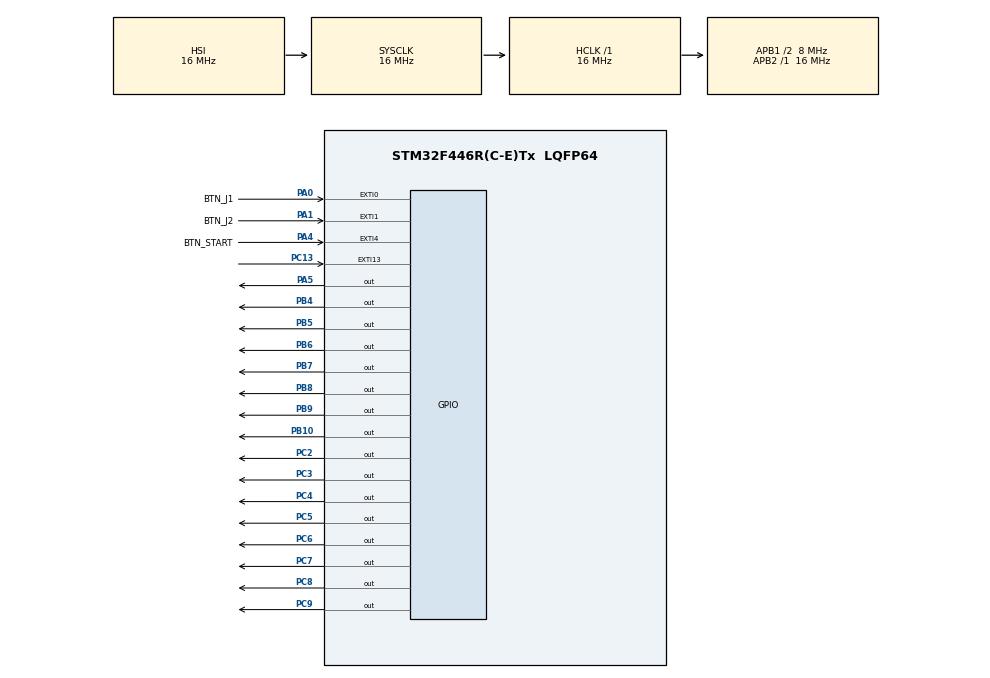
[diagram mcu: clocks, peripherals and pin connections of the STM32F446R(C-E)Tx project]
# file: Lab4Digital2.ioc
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Mcu.Family=STM32F4
Mcu.Name=STM32F446R(C-E)Tx
Mcu.Package=LQFP64
NUCLEO-F446RE.BUTTON=1
NUCLEO-F446RE.LD1=true
NVIC.EXTI0_IRQn=true\:0\:0\:false\:false\:true\:true\:true\:true
NVIC.EXTI15_10_IRQn=true\:0\:0\:false\:false\:true\:false\:true\:true
NVIC.EXTI1_IRQn=true\:0\:0\:false\:false\:true\:true\:true\:true
NVIC.EXTI4_IRQn=true\:0\:0\:false\:false\:true\:true\:true\:true
NVIC.PriorityGroup=NVIC_PRIORITYGROUP_0
PA0-WKUP.GPIO_Label=BTN_J1
PA0-WKUP.GPIO_ModeDefaultEXTI=GPIO_MODE_IT_FALLING
PA0-WKUP.GPIO_PuPd=GPIO_PULLUP
PA0-WKUP.Signal=GPXTI0
PA1.GPIO_Label=BTN_J2
PA1.GPIO_ModeDefaultEXTI=GPIO_MODE_IT_FALLING
PA1.GPIO_PuPd=GPIO_PULLUP
PA1.Signal=GPXTI1
PA13.GPIO_Label=TMS
PA13.Mode=Serial_Wire
PA13.Signal=SYS_JTMS-SWDIO
PA14.GPIO_Label=TCK
PA14.Mode=Serial_Wire
PA14.Signal=SYS_JTCK-SWCLK
PA2.GPIO_Label=USART_TX
PA2.Signal=USART2_TX
PA3.GPIO_Label=USART_RX
PA3.Signal=USART2_RX
PA4.GPIO_Label=BTN_START
PA4.GPIO_ModeDefaultEXTI=GPIO_MODE_IT_FALLING
PA4.GPIO_PuPd=GPIO_PULLUP
PA4.Signal=GPXTI4
PA5.Signal=GPIO_Output
PB10.PinState=GPIO_PIN_SET
PB10.Signal=GPIO_Output
PB3.GPIO_Label=SWO
PB3.Signal=SYS_JTDO-SWO
PB4.PinState=GPIO_PIN_SET
PB4.Signal=GPIO_Output
PB5.PinState=GPIO_PIN_SET
PB5.Signal=GPIO_Output
PB6.PinState=GPIO_PIN_SET
PB6.Signal=GPIO_Output
PB7.PinState=GPIO_PIN_SET
PB7.Signal=GPIO_Output
PB8.PinState=GPIO_PIN_SET
PB8.Signal=GPIO_Output
PB9.PinState=GPIO_PIN_SET
PB9.Signal=GPIO_Output
PC13.Signal=GPXTI13
PC14-OSC32_IN.Signal=RCC_OSC32_IN
PC15-OSC32_OUT.Signal=RCC_OSC32_OUT
PC2.Signal=GPIO_Output
PC3.Signal=GPIO_Output
PC4.Signal=GPIO_Output
PC5.Signal=GPIO_Output
PC6.Signal=GPIO_Output
PC7.Signal=GPIO_Output
PC8.Signal=GPIO_Output
PC9.Signal=GPIO_Output
PH0-OSC_IN.Signal=RCC_OSC_IN
PH1-OSC_OUT.Signal=RCC_OSC_OUT
ProjectManager.HeapSize=0x200
ProjectManager.StackSize=0x400
ProjectManager.TargetToolchain=STM32CubeIDE
RCC.AHBFreq_Value=16000000
RCC.APB1CLKDivider=RCC_HCLK_DIV2
RCC.APB1Freq_Value=8000000
RCC.APB1TimFreq_Value=16000000
RCC.APB2Freq_Value=16000000
RCC.APB2TimFreq_Value=16000000
RCC.CortexFreq_Value=16000000
RCC.FLatency-AdvancedSettings=FLASH_LATENCY_0
RCC.HCLKFreq_Value=16000000
RCC.HSE_VALUE=8000000
RCC.HSI_VALUE=16000000
RCC.LSE_VALUE=32768
RCC.PLLN=336
RCC.PLLP=RCC_PLLP_DIV4
RCC.SYSCLKFreq_VALUE=16000000
RCC.USBFreq_Value=168000000
RCC.VCOOutputFreq_Value=336000000
VP_NUCLEO-F446RE_VS_BSP_COMMON.Mode=COMMON
board=NUCLEO-F446RE

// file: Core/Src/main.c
/* USER CODE BEGIN Header */
/**
  ******************************************************************************
  * @file           : main.c
  * @brief          : Main program body
  ******************************************************************************
  * @attention
  *
  * Copyright (c) 2026 STMicroelectronics.
  * All rights reserved.
  *
  * This software is licensed under terms that can be found in the LICENSE file
  * in the root directory of this software component.
  * If no LICENSE file comes with this software, it is provided AS-IS.
  *
  ******************************************************************************
  */
/* USER CODE END Header */

#include "main.h"

/* USER CODE BEGIN PD */

#define DEBOUNCE_MS 200

#define SEG_A (1U << 4)
#define SEG_B (1U << 5)
#define SEG_C (1U << 6)
#define SEG_D (1U << 7)
#define SEG_E (1U << 8)
#define SEG_F (1U << 9)
#define SEG_G (1U << 10)

#define DISPLAY_MASK (SEG_A | SEG_B | SEG_C | SEG_D | \
                      SEG_E | SEG_F | SEG_G)

/* USER CODE END PD */

/* USER CODE BEGIN PV */

volatile uint8_t contador_J1 = 0;
volatile uint8_t contador_J2 = 0;

volatile uint8_t juego_activo = 0;

/* Variables para la cuenta regresiva */
volatile uint8_t cuenta_activa = 0;
volatile uint8_t numero_cuenta = 5;

volatile uint32_t tiempo_cuenta = 0;

/* Variables para antirrebote */
volatile uint32_t ultimo_J1 = 0;
volatile uint32_t ultimo_J2 = 0;
volatile uint32_t ultimo_START = 0;

/* USER CODE END PV */

void SystemClock_Config(void);
static void MX_GPIO_Init(void);

/* USER CODE BEGIN PFP */

void Mostrar_J1(uint8_t patron);
void Mostrar_J2(uint8_t patron);

void Actualizar_J1(void);
void Actualizar_J2(void);

void Display_Apagado(void);
void Display_Numero(uint8_t numero);

void Ganador_J1(void);
void Ganador_J2(void);

/* USER CODE END PFP */

/* USER CODE BEGIN 0 */

/* ---------------------------------------------------------- */
/* MOSTRAR PATRON EN LOS LEDS DEL JUGADOR 1                   */
/* PC2 - PC5                                                  */
/* ---------------------------------------------------------- */
void Mostrar_J1(uint8_t patron)
{
	uint32_t mascara = (0x0F << 2);
	uint32_t salida = ((patron & 0x0F) << 2);

	uint32_t encender = salida & mascara;
	uint32_t apagar = (~salida) & mascara;

	GPIOC->BSRR = encender | (apagar << 16);
}

/* ---------------------------------------------------------- */
/* MOSTRAR PATRON EN LOS LEDS DEL JUGADOR 2                   */
/* PC6 - PC9                                                  */
/* ---------------------------------------------------------- */
void Mostrar_J2(uint8_t patron)
{
	uint32_t mascara = (0x0F << 6);
	uint32_t salida = ((patron & 0x0F) << 6);

	uint32_t encender = salida & mascara;
	uint32_t apagar = (~salida) & mascara;

	GPIOC->BSRR = encender | (apagar << 16);
}

/* ---------------------------------------------------------- */
/* ACTUALIZAR JUGADOR 1                                       */
/*                                                            */
/* 0 -> 0000                                                  */
/* 1 -> 1000                                                  */
/* 2 -> 0100                                                  */
/* 3 -> 0010                                                  */
/* 4 -> 0001                                                  */
/* 5 -> GANADOR                                               */
/* ---------------------------------------------------------- */
void Actualizar_J1(void)
{
	switch (contador_J1)
	{
		case 0:
			Mostrar_J1(0x00);
			break;

		case 1:
			Mostrar_J1(0x08);
			break;

		case 2:
			Mostrar_J1(0x04);
			break;

		case 3:
			Mostrar_J1(0x02);
			break;

		case 4:
			Mostrar_J1(0x01);
			break;

		case 5:
			Ganador_J1();
			break;

		default:
			break;
	}
}

/* ---------------------------------------------------------- */
/* ACTUALIZAR JUGADOR 2                                       */
/* ---------------------------------------------------------- */
void Actualizar_J2(void)
{
	switch (contador_J2)
	{
		case 0:
			Mostrar_J2(0x00);
			break;

		case 1:
			Mostrar_J2(0x08);
			break;

		case 2:
			Mostrar_J2(0x04);
			break;

		case 3:
			Mostrar_J2(0x02);
			break;

		case 4:
			Mostrar_J2(0x01);
			break;

		case 5:
			Ganador_J2();
			break;

		default:
			break;
	}
}

/* ---------------------------------------------------------- */
/* APAGAR DISPLAY                                             */
/*                                                            */
/* ANODO COMUN                                                */
/* HIGH = APAGADO                                             */
/* LOW  = ENCENDIDO                                           */
/* ---------------------------------------------------------- */
void Display_Apagado(void)
{
	GPIOB->BSRR = DISPLAY_MASK;
}

/* ---------------------------------------------------------- */
/* MOSTRAR NUMERO EN DISPLAY                                  */
/*                                                            */
/* Display de ANODO COMUN                                     */
/* Primero apagamos todos los segmentos.                      */
/* Luego ponemos en LOW solamente los segmentos necesarios.   */
/* ---------------------------------------------------------- */
void Display_Numero(uint8_t numero)
{
	uint32_t segmentos = 0;

	switch (numero)
	{
		case 0:
			segmentos = SEG_A | SEG_B | SEG_C |
					   SEG_D | SEG_E | SEG_F;
			break;

		case 1:
			segmentos = SEG_B | SEG_C;
			break;

		case 2:
			segmentos = SEG_A | SEG_B | SEG_D |
					   SEG_E | SEG_G;
			break;

		case 3:
			segmentos = SEG_A | SEG_B | SEG_C |
					   SEG_D | SEG_G;
			break;

		case 4:
			segmentos = SEG_B | SEG_C | SEG_F |
					   SEG_G;
			break;

		case 5:
			segmentos = SEG_A | SEG_C | SEG_D |
					   SEG_F | SEG_G;
			break;

		default:
			Display_Apagado();
			return;
	}

	/*
	 * Primero todos HIGH = apagados
	 */
	GPIOB->BSRR = DISPLAY_MASK;

	/*
	 * Los bits 16-31 del BSRR ponen el pin en LOW.
	 * En anodo comun LOW = segmento encendido.
	 */
	GPIOB->BSRR = (segmentos << 16);
}

/* ---------------------------------------------------------- */
/* GANADOR JUGADOR 1                                         */
/* ---------------------------------------------------------- */
void Ganador_J1(void)
{
	juego_activo = 0;

	/* J1 = 1111 */
	GPIOC->BSRR =
			(1U << 2) |
			(1U << 3) |
			(1U << 4) |
			(1U << 5);

	/* J2 = 0000 */
	GPIOC->BSRR =
			(1U << (6 + 16)) |
			(1U << (7 + 16)) |
			(1U << (8 + 16)) |
			(1U << (9 + 16));

	/* Mostrar ganador 1 */
	Display_Numero(1);
}

/* ---------------------------------------------------------- */
/* GANADOR JUGADOR 2                                         */
/* ---------------------------------------------------------- */
void Ganador_J2(void)
{
	juego_activo = 0;

	/* J1 = 0000 */
	GPIOC->BSRR =
			(1U << (2 + 16)) |
			(1U << (3 + 16)) |
			(1U << (4 + 16)) |
			(1U << (5 + 16));

	/* J2 = 1111 */
	GPIOC->BSRR =
			(1U << 6) |
			(1U << 7) |
			(1U << 8) |
			(1U << 9);

	/* Mostrar ganador 2 */
	Display_Numero(2);
}

/* USER CODE END 0 */

int main(void)
{

  /* MCU Configuration--------------------------------------------------------*/

  /* Reset of all peripherals, Initializes the Flash interface and the Systick. */
  HAL_Init();

  /* Configure the system clock */
  SystemClock_Config();

  /* Initialize all configured peripherals */
  MX_GPIO_Init();

  /* USER CODE BEGIN 2 */

  Mostrar_J1(0x00);
  Mostrar_J2(0x00);

  Display_Apagado();

  juego_activo = 0;
  cuenta_activa = 0;

  /*
   * Permitir que la primera pulsacion sea reconocida
   * inmediatamente.
   */
  ultimo_J1 = HAL_GetTick() - DEBOUNCE_MS;
  ultimo_J2 = HAL_GetTick() - DEBOUNCE_MS;
  ultimo_START = HAL_GetTick() - DEBOUNCE_MS;

  /* USER CODE END 2 */

  /* Initialize leds */
  BSP_LED_Init(LED2);

  /* Initialize USER push-button, will be used to trigger an interrupt each time it's pressed.*/
  BSP_PB_Init(BUTTON_USER, BUTTON_MODE_EXTI);

  /* Infinite loop */
  while (1)
  {

    /* USER CODE BEGIN 3 */

	/*
	 * ----------------------------------------------------------
	 * CUENTA REGRESIVA
	 * ----------------------------------------------------------
	 *
	 * Esta rutina NO bloquea el procesador.
	 *
	 * Cada vez que pasan 1000 ms:
	 *
	 * 5 -> 4 -> 3 -> 2 -> 1 -> 0
	 *
	 */
	if (cuenta_activa)
	{
		uint32_t ahora = HAL_GetTick();

		if ((ahora - tiempo_cuenta) >= 1000)
		{
			tiempo_cuenta = ahora;

			if (numero_cuenta > 0)
			{
				numero_cuenta--;

				Display_Numero(numero_cuenta);
			}

			else
			{
				/*
				 * El 0 ya estuvo mostrado durante 1 segundo.
				 * Termina la cuenta regresiva.
				 */
				cuenta_activa = 0;

				Display_Apagado();

				/*
				 * Ahora SI empieza la carrera.
				 */
				juego_activo = 1;
			}
		}
	}

  }
  /* USER CODE END 3 */
}

void SystemClock_Config(void)
{
  RCC_OscInitTypeDef RCC_OscInitStruct = {0};
  RCC_ClkInitTypeDef RCC_ClkInitStruct = {0};

  /** Configure the main internal regulator output voltage
  */
  __HAL_RCC_PWR_CLK_ENABLE();
  __HAL_PWR_VOLTAGESCALING_CONFIG(PWR_REGULATOR_VOLTAGE_SCALE3);

  /** Initializes the RCC Oscillators according to the specified parameters
  * in the RCC_OscInitTypeDef structure.
  */
  RCC_OscInitStruct.OscillatorType = RCC_OSCILLATORTYPE_HSI;
  RCC_OscInitStruct.HSIState = RCC_HSI_ON;
  RCC_OscInitStruct.HSICalibrationValue = RCC_HSICALIBRATION_DEFAULT;
  RCC_OscInitStruct.PLL.PLLState = RCC_PLL_NONE;

  if (HAL_RCC_OscConfig(&RCC_OscInitStruct) != HAL_OK)
  {
    Error_Handler();
  }

  /** Initializes the CPU, AHB and APB buses clocks
  */
  RCC_ClkInitStruct.ClockType = RCC_CLOCKTYPE_HCLK|RCC_CLOCKTYPE_SYSCLK
                              |RCC_CLOCKTYPE_PCLK1|RCC_CLOCKTYPE_PCLK2;

  RCC_ClkInitStruct.SYSCLKSource = RCC_SYSCLKSOURCE_HSI;
  RCC_ClkInitStruct.AHBCLKDivider = RCC_SYSCLK_DIV1;
  RCC_ClkInitStruct.APB1CLKDivider = RCC_HCLK_DIV2;
  RCC_ClkInitStruct.APB2CLKDivider = RCC_HCLK_DIV1;

  if (HAL_RCC_ClockConfig(&RCC_ClkInitStruct, FLASH_LATENCY_0) != HAL_OK)
  {
    Error_Handler();
  }
}

static void MX_GPIO_Init(void)
{
  GPIO_InitTypeDef GPIO_InitStruct = {0};

  /* GPIO Ports Clock Enable */
  __HAL_RCC_GPIOC_CLK_ENABLE();
  __HAL_RCC_GPIOH_CLK_ENABLE();
  __HAL_RCC_GPIOA_CLK_ENABLE();
  __HAL_RCC_GPIOB_CLK_ENABLE();

  /*Configure GPIO pin Output Level */
  HAL_GPIO_WritePin(GPIOC, GPIO_PIN_2|GPIO_PIN_3|GPIO_PIN_4|GPIO_PIN_5
                          |GPIO_PIN_6|GPIO_PIN_7|GPIO_PIN_8|GPIO_PIN_9,
                          GPIO_PIN_RESET);

  /*Configure GPIO pin Output Level */
  HAL_GPIO_WritePin(GPIOB, GPIO_PIN_10|GPIO_PIN_4|GPIO_PIN_5|GPIO_PIN_6
                          |GPIO_PIN_7|GPIO_PIN_8|GPIO_PIN_9,
                          GPIO_PIN_SET);

  /*Configure GPIO pins : PC2 PC3 PC4 PC5
                           PC6 PC7 PC8 PC9 */
  GPIO_InitStruct.Pin = GPIO_PIN_2|GPIO_PIN_3|GPIO_PIN_4|GPIO_PIN_5
                          |GPIO_PIN_6|GPIO_PIN_7|GPIO_PIN_8|GPIO_PIN_9;

  GPIO_InitStruct.Mode = GPIO_MODE_OUTPUT_PP;
  GPIO_InitStruct.Pull = GPIO_NOPULL;
  GPIO_InitStruct.Speed = GPIO_SPEED_FREQ_LOW;

  HAL_GPIO_Init(GPIOC, &GPIO_InitStruct);

  /*Configure GPIO pins : BTN_J1_Pin BTN_J2_Pin BTN_START_Pin */
  GPIO_InitStruct.Pin = BTN_J1_Pin|BTN_J2_Pin|BTN_START_Pin;

  GPIO_InitStruct.Mode = GPIO_MODE_IT_FALLING;
  GPIO_InitStruct.Pull = GPIO_PULLUP;

  HAL_GPIO_Init(GPIOA, &GPIO_InitStruct);

  /*Configure GPIO pins : USART_TX_Pin USART_RX_Pin */
  GPIO_InitStruct.Pin = USART_TX_Pin|USART_RX_Pin;

  GPIO_InitStruct.Mode = GPIO_MODE_AF_PP;
  GPIO_InitStruct.Pull = GPIO_NOPULL;
  GPIO_InitStruct.Speed = GPIO_SPEED_FREQ_VERY_HIGH;
  GPIO_InitStruct.Alternate = GPIO_AF7_USART2;

  HAL_GPIO_Init(GPIOA, &GPIO_InitStruct);

  /*Configure GPIO pins : PB10 PB4 PB5 PB6
                           PB7 PB8 PB9 */
  GPIO_InitStruct.Pin = GPIO_PIN_10|GPIO_PIN_4|GPIO_PIN_5|GPIO_PIN_6
                          |GPIO_PIN_7|GPIO_PIN_8|GPIO_PIN_9;

  GPIO_InitStruct.Mode = GPIO_MODE_OUTPUT_PP;
  GPIO_InitStruct.Pull = GPIO_NOPULL;
  GPIO_InitStruct.Speed = GPIO_SPEED_FREQ_LOW;

  HAL_GPIO_Init(GPIOB, &GPIO_InitStruct);

  /* EXTI interrupt init*/
  HAL_NVIC_SetPriority(EXTI0_IRQn, 0, 0);
  HAL_NVIC_EnableIRQ(EXTI0_IRQn);

  HAL_NVIC_SetPriority(EXTI1_IRQn, 0, 0);
  HAL_NVIC_EnableIRQ(EXTI1_IRQn);

  HAL_NVIC_SetPriority(EXTI4_IRQn, 0, 0);
  HAL_NVIC_EnableIRQ(EXTI4_IRQn);

}

/* USER CODE BEGIN 4 */

/* ---------------------------------------------------------- */
/* INTERRUPCIONES DE LOS BOTONES                              */
/* ---------------------------------------------------------- */
void HAL_GPIO_EXTI_Callback(uint16_t GPIO_Pin)
{
	uint32_t ahora = HAL_GetTick();

	/* ------------------------------------------------------ */
	/* BOTON START                                            */
	/* ------------------------------------------------------ */
	if (GPIO_Pin == BTN_START_Pin)
	{
		if ((ahora - ultimo_START) >= DEBOUNCE_MS)
		{
			ultimo_START = ahora;

			/*
			 * Deshabilitar jugadores inmediatamente.
			 */
			juego_activo = 0;

			/*
			 * Reiniciar carrera.
			 */
			contador_J1 = 0;
			contador_J2 = 0;

			Mostrar_J1(0x00);
			Mostrar_J2(0x00);

			/*
			 * Iniciar cuenta regresiva.
			 */
			numero_cuenta = 5;
			cuenta_activa = 1;

			tiempo_cuenta = ahora;

			/*
			 * Mostrar 5 inmediatamente.
			 */
			Display_Numero(5);
		}
	}

	/* ------------------------------------------------------ */
	/* BOTON JUGADOR 1                                       */
	/* ------------------------------------------------------ */
	else if (GPIO_Pin == BTN_J1_Pin)
	{
		/*
		 * Solo se permite avanzar cuando la carrera
		 * ya esta activa.
		 */
		if (juego_activo)
		{
			if ((ahora - ultimo_J1) >= DEBOUNCE_MS)
			{
				ultimo_J1 = ahora;

				contador_J1++;

				Actualizar_J1();
			}
		}
	}

	/* ------------------------------------------------------ */
	/* BOTON JUGADOR 2                                       */
	/* ------------------------------------------------------ */
	else if (GPIO_Pin == BTN_J2_Pin)
	{
		if (juego_activo)
		{
			if ((ahora - ultimo_J2) >= DEBOUNCE_MS)
			{
				ultimo_J2 = ahora;

				contador_J2++;

				Actualizar_J2();
			}
		}
	}
}

/* USER CODE END 4 */

void Error_Handler(void)
{
  __disable_irq();
  while (1)
  {
  }
}
